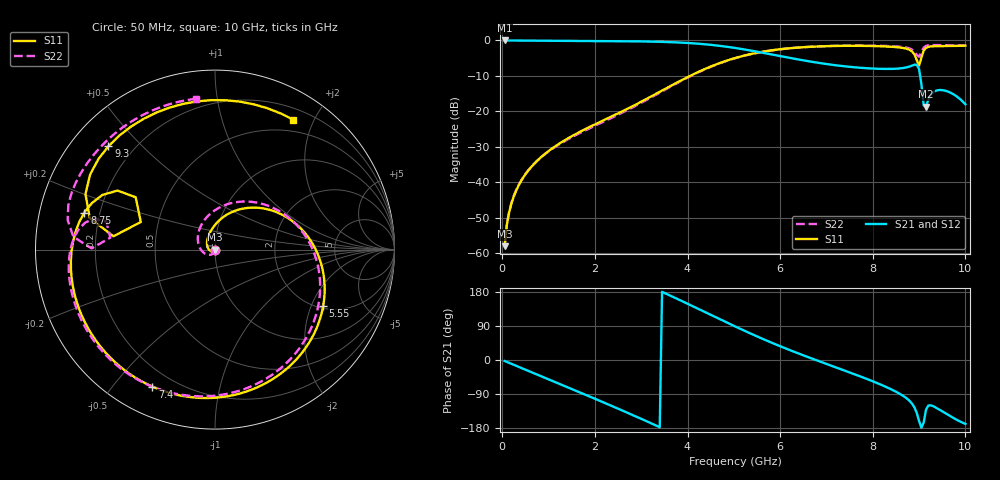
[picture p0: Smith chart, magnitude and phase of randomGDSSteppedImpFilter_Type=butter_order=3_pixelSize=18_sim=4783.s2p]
! freq	dB(S11)	phase(S11)	dB(S12)	phase(S12)
!  dB(S21)	phase(S21)	dB(S22)	phase(S22)
!S-par simulation data
#  GHz  S  DB  R 50
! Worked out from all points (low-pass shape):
!   200 points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, 50 MHz to 10 GHz, reference 50 ohm
!   highest |S21| = -0.01 dB at 50 MHz (marker M1); lowest = -18.7 dB at 9.15 GHz (marker M2)
!   |S21| within 3 dB of the highest: start of sweep to 5.43 GHz
!   lowest |S11| = -58.1 dB at 50 MHz (marker M3), VSWR 1.00, Z = 50 - j0.12 ohm
!   |S11| at or under -10 dB: start of sweep to 4.056 GHz
!   |S22| runs from -57.9 to -1.3 dB; largest |S21 - S12| = 0
!   S11 on the Smith chart (normalised r, x): 50 MHz: 1.00, -0.00; 5.55 GHz: 2.10, -2.45; 7.4 GHz: 0.12, -0.63; 8.75 GHz: 0.14, +0.14; 9.3 GHz: 0.11, +0.40; 10 GHz: 0.34, +1.72
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0.05  -58.07 -74.5  -0.01 -2.6  -0.01 -2.6  -57.94 -71.7
0.1  -51.88 -85.9  -0.01 -5.1  -0.01 -5.1  -51.77 -80.2
0.2  -45.91 -99.6  -0.02 -10.2  -0.02 -10.2  -45.72 -88.8
0.45  -38.75 -123.4  -0.03 -22.9  -0.03 -22.9  -38.60 -99.9
1.15  -29.82 -176.7  -0.08 -58.5  -0.08 -58.5  -29.98 -123.9
1.75  -25.31 145.5  -0.12 -89.3  -0.12 -89.3  -25.65 -148.7
2.5  -20.59 109.5  -0.19 -128.4  -0.19 -128.4  -20.95 168.8
3.4  -14.50 75.4  -0.39 -177.3  -0.39 -177.3  -14.72 105.4
4.3  -8.50 36.2  -0.99 131.0  -0.99 131.0  -8.59 42.6
5.05  -4.88 -1.9  -2.17 87.3  -2.17 87.3  -4.93 -5.5
5.55  -3.36 -27.5  -3.29 59.6  -3.29 59.6  -3.40 -34.7
6.7  -1.76 -82.3  -6.06 3.1  -6.06 3.1  -1.76 -91.7
7.4  -1.52 -114.6  -7.32 -28.2  -7.32 -28.2  -1.48 -122.0
8.35  -1.75 -165.6  -8.05 -74.6  -8.05 -74.6  -1.59 -163.9
8.75  -2.42 164.2  -7.53 -103.0  -7.53 -103.0  -2.10 174.6
8.9  -3.95 148.8  -6.84 -125.2  -6.84 -125.2  -3.18 165.6
9  -7.11 159.6  -8.11 -160.9  -8.11 -160.9  -4.63 173.5
9.1  -2.87 165.9  -18.32 -164.8  -18.32 -164.8  -2.02 174.8
9.15  -2.10 156.8  -18.65 -130.8  -18.65 -130.8  -1.54 168.6
9.3  -1.65 135.8  -14.66 -121.7  -14.66 -121.7  -1.30 154.2
9.65  -1.60 96.8  -14.58 -146.4  -14.58 -146.4  -1.38 126.9
10  -1.46 58.9  -18.04 -168.6  -18.04 -168.6  -1.44 97.0
